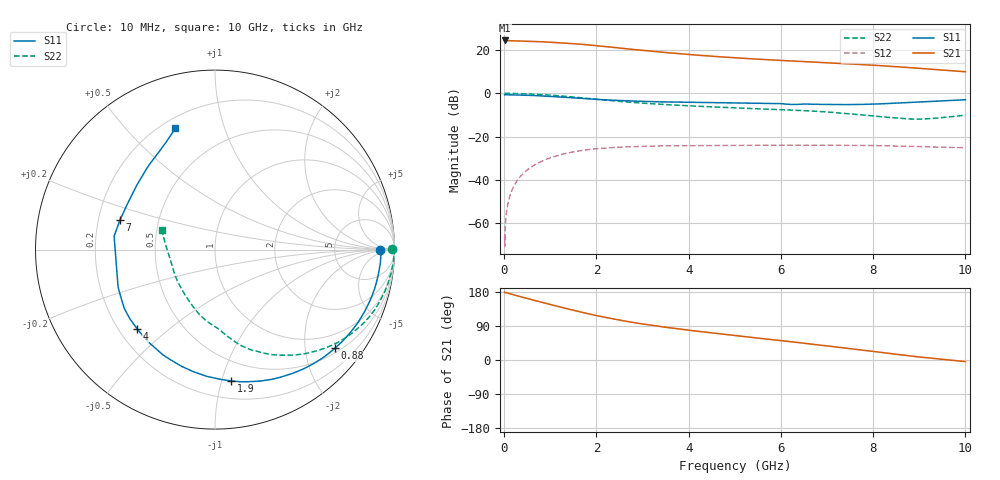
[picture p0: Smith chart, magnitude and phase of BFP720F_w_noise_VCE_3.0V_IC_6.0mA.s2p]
! Infineon Technologies  Discrete & RF Semiconductors
! BFP720F
! VCE =  3.0 V,  IC =  6.0 mA
! Common Emitter S-Parameters:  Jan 2016
# GHz  S  MA  R  50
!  f  S11  S21  S12  S22
! GHz  MAG  ANG  MAG  ANG  MAG  ANG  MAG  ANG
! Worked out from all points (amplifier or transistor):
!   233 points, 10 MHz to 10 GHz, reference 50 ohm
!   highest |S21| = 24.4 dB at 10 MHz (marker M1)
!   |S21| within 3 dB of that: start of sweep to 2.276 GHz
!   unconditionally stable (mu >= 1): 7.495 GHz to end of sweep
!   at 200 MHz: K = 0.05, MSG = 33.7 dB, |S12| = -43.2 dB
!   at 1.74 GHz: K = 0.23, MSG = 24.3 dB, |S12| = -26.2 dB
!   at 10 GHz: K = 1.29, MAG = 14.3 dB, |S12| = -25.1 dB
!   lowest NFmin = 0.45 dB at 450 MHz
!   S11 on the Smith chart (normalised r, x): 10 MHz: 24, +0; 880 MHz: 0.61, -2.66; 1.9 GHz: 0.33, -1.07; 4 GHz: 0.27, -0.39; 7 GHz: 0.29, +0.14; 10 GHz: 0.25, +0.69
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0.01  0.9201 0.0  16.55 179.2  0.0005 -34.4  0.9866 0.2
0.015  0.9235 -0.4  16.42 178.3  0.0003 44.3  0.9927 -0.5
0.02  0.9269 -0.8  16.3 177.4  0.0007 88.8  0.999 -1.2
0.05  0.9244 -2.2  16.44 177.6  0.0018 80.9  0.9964 -1.5
0.09  0.9246 -4.0  16.41 176.2  0.0032 86.7  0.9968 -2.6
0.22  0.9194 -9.8  16.21 171.6  0.0076 83.5  0.992 -6.4
0.6  0.8949 -26.8  15.7 159.3  0.0204 73.4  0.962 -17.5
0.88  0.8648 -39.5  15.34 150.2  0.0291 65.7  0.9279 -25.4
1.28  0.8163 -57.0  14.44 137.8  0.0398 55.2  0.8621 -36.4
1.68  0.7634 -74.4  13.51 125.9  0.048 45.5  0.7873 -46.4
1.9  0.7372 -83.0  12.85 119.9  0.0515 40.7  0.7473 -51.5
2.2  0.7079 -93.6  11.96 112.3  0.0551 34.8  0.6968 -57.7
2.6  0.6765 -106.0  10.8 103.1  0.0582 27.9  0.6392 -64.6
3  0.6544 -116.3  9.798 95.1  0.0603 22.7  0.5941 -70.2
3.4  0.6366 -124.3  8.93 88.2  0.0614 18.3  0.5585 -74.2
4  0.6191 -134.4  7.862 78.5  0.0624 12.8  0.515 -78.9
5.1  0.5992 -148.2  6.499 63.3  0.0634 5.4  0.4576 -85.4
6.8  0.5576 166.6  5.193 40.0  0.0638 -3.8  0.3829 -100.7
7  0.5545 162.7  5.071 37.1  0.0637 -4.8  0.3724 -103.4
8.4  0.5876 131.0  4.194 16.6  0.0615 -11.7  0.2755 -138.6
9  0.6306 119.2  3.773 7.9  0.0591 -13.8  0.2548 -166.6
10  0.7116 108.2  3.141 -4.2  0.0557 -15.3  0.3145 160.1
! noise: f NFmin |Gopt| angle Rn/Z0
0.45  0.45  0.44  3  0.16
0.9  0.47  0.42  10  0.17
1.8  0.52  0.38  19  0.16
2.4  0.56  0.37  28  0.14
5.5  0.74  0.34  62  0.09
10  0.97  0.25  -105  0.15
